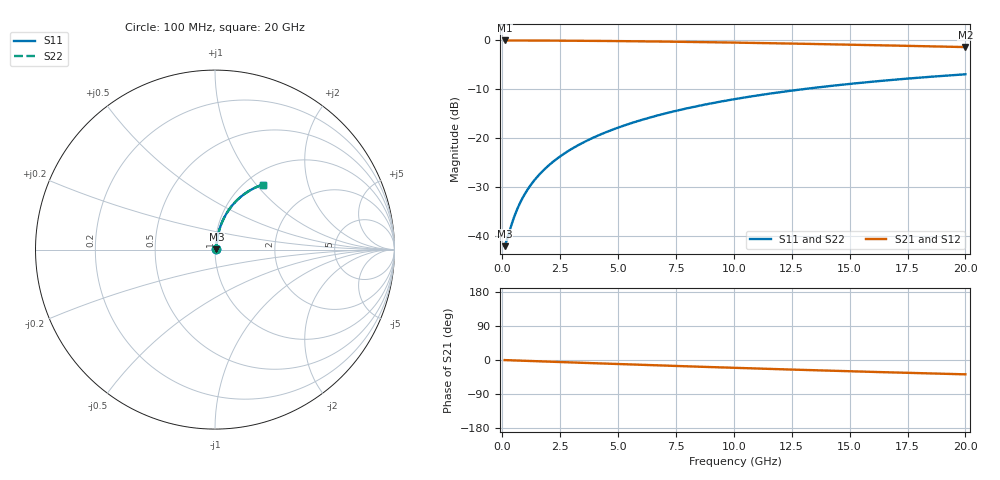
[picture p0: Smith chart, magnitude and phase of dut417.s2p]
! Touchstone file exported from HFSS 2024.1.0
!  File:  C:/UserFiles/LocalFiles/RDL_TSV_Batchsim/temp_RDL_bottom_417_1779683566.aedt
!  Generated:  12:35:28 PM May 25, 2026
!  Design:  RDL_bottom
!  Project:  temp_RDL_bottom_417_1779683566
!  Setup:  Setup1
!  Solution:  Sweep
! Variables:
!  dtsv = 10.80580581um
!  hbump = 3um
!  htsv = 81.99um
!  ldown = 473.78um
!  lrdl = 100um
!  p = 40
!  p1 = 40.39um
!  rhole = 1um
!  t = 450um
!  tdown = 2.19um
!  trdl = 3.915915916um
!  wdown = 10.41um
!  wrdl = 20um
# GHz S MA R 50.000000
! Terminal data exported
! Port[1] = RDL1_T1
! Port[2] = RDL1_T2
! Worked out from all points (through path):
!   200 points, 100 MHz to 20 GHz, reference 50 ohm
!   highest |S21| = -0.06 dB at 100 MHz (marker M1); lowest = -1.4 dB at 20 GHz (marker M2)
!   group delay of S21, straight-line fit = 5.27 ps
!   lowest |S11| = -42.0 dB at 100 MHz (marker M3), VSWR 1.02, Z = 50.7 + j0.271 ohm
!   |S11| at or under -10 dB: start of sweep to 13 GHz
!   |S22| runs from -42.0 to -7.0 dB; largest |S21 - S12| = 4e-15
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0.1  0.007899 19.7  0.9926 -0.2  0.9926 -0.2  0.007899 19.7
! Gamma 0 0 0 0
! Port Impedance 50 0 50 0
0.2  0.009196 35.4  0.9925 -0.4  0.9925 -0.4  0.009196 35.4
0.4  0.01312 54.0  0.9923 -0.9  0.9923 -0.9  0.01312 54.0
0.5  0.0154 59.3  0.9922 -1.1  0.9922 -1.1  0.0154 59.3
0.7  0.02019 66.0  0.9919 -1.5  0.9919 -1.5  0.02019 66.0
0.8  0.02264 68.1  0.9917 -1.8  0.9917 -1.8  0.02264 68.1
1  0.02758 71.2  0.9914 -2.2  0.9914 -2.2  0.02758 71.2
1.3  0.03505 74.0  0.9908 -2.8  0.9908 -2.8  0.03505 74.0
1.7  0.04505 76.1  0.99 -3.7  0.99 -3.7  0.04505 76.1
2.2  0.0576 77.5  0.9888 -4.8  0.9888 -4.8  0.0576 77.5
2.8  0.0727 78.1  0.9871 -6.0  0.9871 -6.0  0.07269 78.1
3.5  0.09033 78.1  0.9847 -7.5  0.9847 -7.5  0.09033 78.1
4.2  0.108 77.8  0.9818 -9.0  0.9818 -9.0  0.108 77.7
5  0.128 77.0  0.9781 -10.6  0.9781 -10.6  0.128 77.0
5.9  0.1505 76.0  0.9732 -12.5  0.9732 -12.5  0.1505 76.0
6.8  0.1727 74.7  0.9678 -14.3  0.9678 -14.3  0.1727 74.7
8.3  0.2092 72.5  0.9575 -17.3  0.9575 -17.3  0.2092 72.5
10.1  0.2516 69.6  0.9435 -20.8  0.9435 -20.8  0.2516 69.6
11.7  0.2879 67.0  0.9298 -23.8  0.9298 -23.8  0.2878 67.0
13.4  0.3246 64.2  0.9143 -26.9  0.9143 -26.9  0.3246 64.2
16.7  0.3903 58.8  0.8823 -32.6  0.8823 -32.6  0.3903 58.8
20  0.4482 53.8  0.8494 -37.9  0.8494 -37.9  0.4481 53.8
